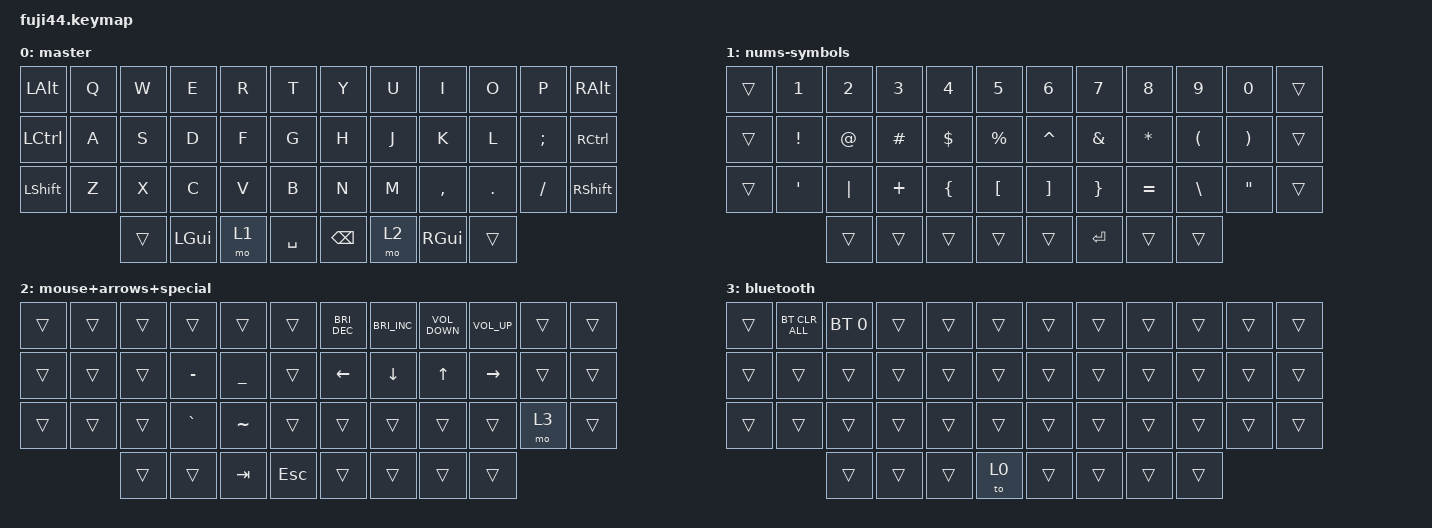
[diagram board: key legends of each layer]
/*
 * Copyright (c) 2020 The ZMK Contributors
 *
 * SPDX-License-Identifier: MIT
 */

#include <behaviors.dtsi>
#include <dt-bindings/zmk/bt.h>
#include <dt-bindings/zmk/keys.h>

/ {
    combos { compatible = "zmk,combos"; };

    behaviors {
        ss_hs_modmorph: ss_hs_modmorph {
            compatible = "zmk,behavior-mod-morph";
            label = "SS_HS_MODMORPH";
            bindings = <&kp M>, <&kp RIGHT_BRACKET>;

            #binding-cells = <0>;
            mods = <(MOD_LSFT|MOD_RSFT)>;
        };

        kh_hs_tapdance: kh_hs_tapdance {
            compatible = "zmk,behavior-tap-dance";
            label = "KH_HS_TAPDANCE";
            #binding-cells = <0>;
            tapping-term-ms = <200>;
            bindings = <&kp LEFT_BRACKET>, <&kp RIGHT_BRACKET>;
        };

        hrm: hrm {
            compatible = "zmk,behavior-hold-tap";
            #binding-cells = <2>;
            flavor = "tap-preferred";
            tapping-term-ms = <200>;
            quick-tap-ms = <200>;
            require-prior-idle-ms = <125>;
            bindings = <&kp>, <&kp>;
        };
    };

    keymap {
        compatible = "zmk,keymap";

        master {
            bindings = <
&kp LEFT_ALT      &kp Q  &kp W   &kp E         &kp R  &kp T        &kp Y          &kp U  &kp I          &kp O    &kp P     &kp RIGHT_ALT
&kp LEFT_CONTROL  &kp A  &kp S   &kp D         &kp F  &kp G        &kp H          &kp J  &kp K          &kp L    &kp SEMI  &kp RIGHT_CONTROL
&kp LEFT_SHIFT    &kp Z  &kp X   &kp C         &kp V  &kp B        &kp N          &kp M  &kp COMMA      &kp DOT  &kp FSLH  &kp RIGHT_SHIFT
                         &trans  &kp LEFT_GUI  &mo 1  &kp SPACE    &kp BACKSPACE  &mo 2  &kp RIGHT_GUI  &trans
            >;
        };

        nums-symbols {
            bindings = <
&trans  &kp NUMBER_1  &kp NUMBER_2  &kp NUMBER_3  &kp NUMBER_4    &kp NUMBER_5        &kp NUMBER_6       &kp NUMBER_7     &kp NUMBER_8  &kp NUMBER_9          &kp NUMBER_0           &trans
&trans  &kp EXCL      &kp AT        &kp HASH      &kp DOLLAR      &kp PERCENT         &kp CARET          &kp AMPERSAND    &kp STAR      &kp LEFT_PARENTHESIS  &kp RIGHT_PARENTHESIS  &trans
&trans  &kp APOS      &kp PIPE      &kp PLUS      &kp LEFT_BRACE  &kp LEFT_BRACKET    &kp RIGHT_BRACKET  &kp RIGHT_BRACE  &kp EQUAL     &kp BACKSLASH         &kp DOUBLE_QUOTES      &trans
                      &trans        &trans        &trans          &trans              &trans             &kp ENTER        &trans        &trans
            >;
        };

        mouse+arrows+special {
            bindings = <
&trans  &trans  &trans  &trans     &trans          &trans        &kp C_BRIGHTNESS_DEC  &kp C_BRIGHTNESS_INC  &kp C_VOLUME_DOWN  &kp C_VOLUME_UP  &trans  &trans
&trans  &trans  &trans  &kp MINUS  &kp UNDERSCORE  &trans        &kp LEFT_ARROW        &kp DOWN_ARROW        &kp UP_ARROW       &kp RIGHT_ARROW  &trans  &trans
&trans  &trans  &trans  &kp GRAVE  &kp TILDE       &trans        &trans                &trans                &trans             &trans           &mo 3   &trans
                &trans  &trans     &kp TAB         &kp ESCAPE    &trans                &trans                &trans             &trans
            >;
        };

        bluetooth {
            bindings = <
&trans  &bt BT_CLR_ALL  &bt BT_SEL 0  &trans  &trans  &trans    &trans  &trans  &trans  &trans  &trans  &trans
&trans  &trans          &trans        &trans  &trans  &trans    &trans  &trans  &trans  &trans  &trans  &trans
&trans  &trans          &trans        &trans  &trans  &trans    &trans  &trans  &trans  &trans  &trans  &trans
                        &trans        &trans  &trans  &to 0     &trans  &trans  &trans  &trans
            >;
        };
    };
};
